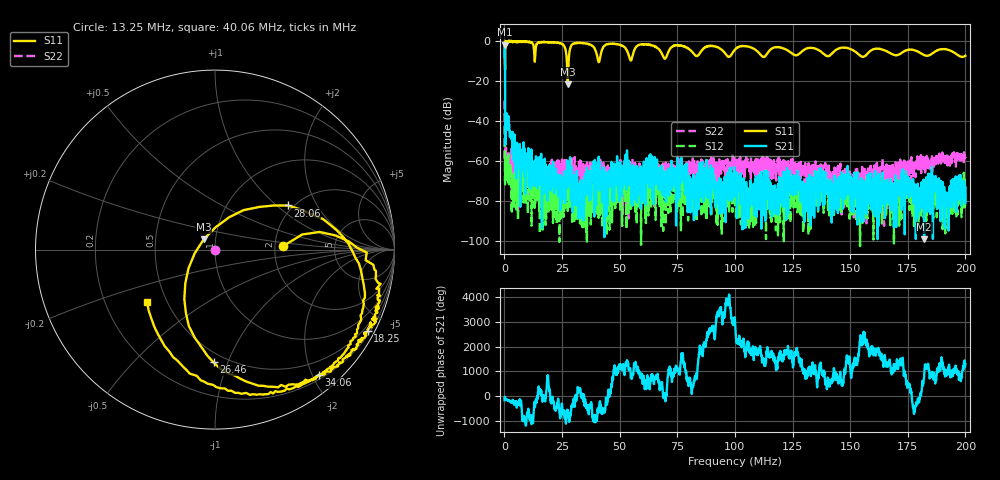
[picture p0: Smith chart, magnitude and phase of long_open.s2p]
! 23-Mar-26 11:54:58 AM
! E:\UPDATEDVNAMEASUREMENTS\CAL_S11S\LONG_OPEN.S2P
! CHANNEL.1
! TR.MEASUREMENT
! CORRECTED.DATA
# GHZ S RI R 50.0
! FREQ.GHZ  S11RE  S11IM  S21RE  S21IM  S12RE  S12IM  S22RE  S22IM
!; PortSelection: Port_12
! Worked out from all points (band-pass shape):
!   2000 points, 50 kHz to 200 MHz, reference 50 ohm
!   highest |S21| = -1.62 dB at 150 kHz (marker M1); lowest = -99.0 dB at 182.1 MHz (marker M2)
!   |S21| within 3 dB of the highest: 101.5 kHz to 183.3 kHz (81.86 kHz wide, 57.5 % of centre)
!   lowest |S11| = -21.4 dB at 27.46 MHz (marker M3), VSWR 1.19, Z = 43.8 + j4.99 ohm
!   |S11| at or under -10 dB: 162.6 kHz to 280.4 kHz (117.8 kHz wide, 53.2 % of centre); 27.07 MHz to 27.82 MHz (754.7 kHz wide, 2.75 % of centre); 40.76 MHz to 41.14 MHz (383.7 kHz wide, 0.937 % of centre) (the widest 3 of 4)
!   |S22| runs from -92.3 to -29.6 dB; largest |S21 - S12| = 0.83
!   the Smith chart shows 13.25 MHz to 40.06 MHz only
!   S11 on the Smith chart (normalised r, x): 13.25 MHz: 2.21, +0.10; 18.25 MHz: 0.30, -3.97; 26.46 MHz: 0.43, -0.89; 28.06 MHz: 1.87, +1.19; 34.06 MHz: 0.27, -2.10; 40.06 MHz: 0.39, -0.29
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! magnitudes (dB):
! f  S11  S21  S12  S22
! 50 kHz  -5.0  -7.8  -42.1  -29.6
! 150 kHz  -9.4  -1.6  -56.3  -59.7
! 1.35 MHz  0.1  -42.2  -69.9  -60.7
! 5.051 MHz  0.1  -61.9  -67.5  -59.8
! 13.25 MHz  -8.4  -62.1  -81.1  -66.0
! 18.25 MHz  -0.3  -68.4  -73.2  -68.5
! 26.46 MHz  -4.0  -68.2  -76.2  -65.3
! 27.46 MHz  -21.4  -65.3  -86.0  -62.6
! 28.06 MHz  -6.5  -62.7  -75.2  -61.7
! 33.46 MHz  -0.8  -82.3  -91.1  -61.4
! 34.06 MHz  -0.9  -69.6  -82.1  -69.5
! 40.06 MHz  -6.4  -62.6  -72.0  -68.9
! 43.76 MHz  -1.8  -67.2  -80.7  -63.3
! 52.96 MHz  -4.3  -74.2  -80.9  -63.0
! 55.86 MHz  -5.9  -61.8  -76.8  -64.9
! 66.77 MHz  -3.6  -73.8  -68.9  -68.0
! 100.1 MHz  -3.9  -72.3  -82.0  -62.9
! 104.9 MHz  -2.4  -70.4  -76.6  -57.3
! 133.4 MHz  -3.2  -72.0  -72.0  -61.9
! 166.7 MHz  -5.4  -80.7  -79.2  -66.7
! 182.1 MHz  -6.8  -99.0  -70.8  -58.1
! 200 MHz  -7.1  -80.8  -72.3  -57.7
